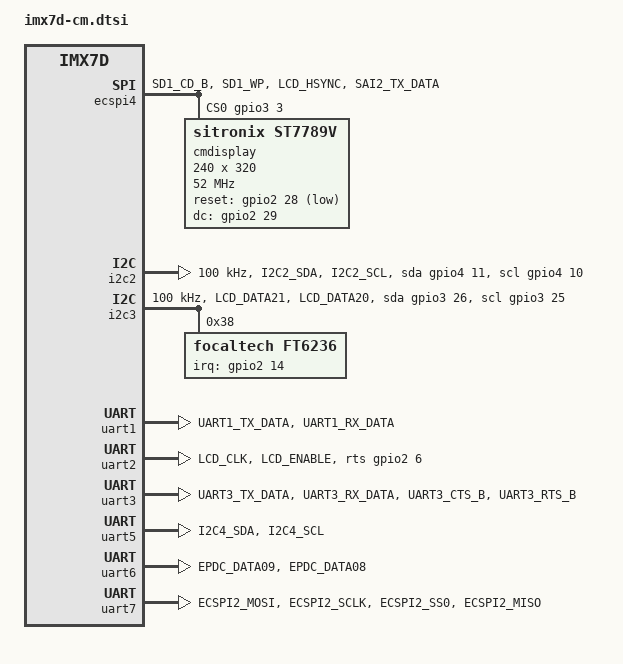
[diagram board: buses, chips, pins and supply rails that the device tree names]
/*
 * Copyright (C) 2015 Freescale Semiconductor, Inc.
 * Copyright (C) 2016-2017 Variscite Ltd.
 *
 * This program is free software; you can redistribute it and/or modify
 * it under the terms of the GNU General Public License version 2 as
 * published by the Free Software Foundation.
 */
#include "imx7d-tt-common.dtsi"

/ {

};

&ecspi4 {
	fsl,spi-num-chipselects = <1>;
	pinctrl-names = "default";
	pinctrl-0 = <&pinctrl_ecspi4>;
	cs-gpios = <&gpio3 3 0>;
	status = "okay";

	cmdisplay: cm-display@0{
		compatible = "sitronix,st7789v";
		reg = <0>;
		pinctrl-names = "default";
		pinctrl-0 = <&cm_display1>;

		spi-max-frequency = <52000000>;
		rotate = <180>;
		width = <240>;
		height = <320>;
		fps = <30>;
		buswidth = <8>;
		reset-gpios = <&gpio2 28 1>;
		dc-gpios = <&gpio2 29 0>;
		debug = <0>;
	};

};

&i2c2 {
	clock-frequency = <100000>;
	pinctrl-names = "default", "gpio";
	pinctrl-0 = <&pinctrl_i2c2>;
	pinctrl-1 = <&pinctrl_i2c2_gpio>;
	scl-gpios = <&gpio4 10 GPIO_ACTIVE_HIGH>;
	sda-gpios = <&gpio4 11 GPIO_ACTIVE_HIGH>;
	status = "okay";
};

&i2c3 {
	clock-frequency = <100000>;
	pinctrl-names = "default", "gpio";
	pinctrl-0 = <&pinctrl_i2c3>;
	pinctrl-1 = <&pinctrl_i2c3_gpio>;
	scl-gpios = <&gpio3 25 GPIO_ACTIVE_HIGH>;
	sda-gpios = <&gpio3 26 GPIO_ACTIVE_HIGH>;
	status = "okay";

	ft6236: ft6236@38 {
		compatible = "focaltech,ft6236";
		reg = <0x38>;

		interrupt-parent = <&gpio2>;
		interrupts = <14 2>;

		touchscreen-size-x = <240>;
		touchscreen-size-y = <320>;
		touchscreen-swapped-x-y = <1>;
		touchscreen-inverted-x = <1>;
		touchscreen-inverted-y = <1>;
	};
};

&iomuxc {
	pinctrl-names = "default", "sleep";
	pinctrl-0 = <&pinctrl_hog_1>;
	pinctrl-1 = <&pinctrl_hog_1_sleep>;

	imx7d-sdb {
		pinctrl_hog_1: hoggrp-1 {
			fsl,pins = <
				MX7D_PAD_GPIO1_IO14__GPIO1_IO14		0x80000000 /* bt reg on */
				MX7D_PAD_EPDC_PWR_COM__GPIO2_IO30	0x80000000 /* capacitive touch irq */
				MX7D_PAD_SD2_RESET_B__GPIO5_IO11	0x59       /* ethphy0 reset */
				MX7D_PAD_UART2_TX_DATA__GPIO4_IO3	0x59       /* ethphy1 reset */
				MX7D_PAD_I2C3_SCL__GPIO4_IO12		0x80000000 /* Nordic SWDIO */
				MX7D_PAD_I2C3_SDA__GPIO4_IO13		0x80000000 /* Nordic SWDCLK */
				MX7D_PAD_EPDC_DATA13__GPIO2_IO13	0x80000000 /* CM RST */
				MX7D_PAD_LCD_RESET__GPIO3_IO4		0x80000000 /* CM FCT RST */
				MX7D_PAD_LCD_VSYNC__GPIO3_IO3		0x80000000 /* DISP CS */
				MX7D_PAD_LCD_DATA23__GPIO3_IO28		0x80000000 /* TOUCH RST */
				MX7D_PAD_EPDC_DATA14__GPIO2_IO14	0x80000000 /* TOUCH IRQ */
				MX7D_PAD_EPDC_DATA10__GPIO2_IO10	0x80000000 /* TRIGGER 1 */
				MX7D_PAD_EPDC_DATA04__GPIO2_IO4		0x80000000 /* TRIGGER 2 */
				MX7D_PAD_EPDC_DATA01__GPIO2_IO1		0x80000000 /* HANDLE 1 */
				MX7D_PAD_EPDC_DATA15__GPIO2_IO15	0x80000000 /* HANDLE 2 */
				MX7D_PAD_EPDC_DATA03__GPIO2_IO3		0x80000000 /* GPIO_TX31 */
				MX7D_PAD_EPDC_DATA02__GPIO2_IO2		0x80000000 /* GPIO_RX31 */
				MX7D_PAD_EPDC_DATA11__GPIO2_IO11	0x80000000 /* GPIO_TX32 */
				MX7D_PAD_LCD_DATA22__GPIO3_IO27		0x80000000 /* GPIO_RX32 */
				MX7D_PAD_EPDC_DATA06__GPIO2_IO6		0x80000000 /* GPIO_TX1 */
				MX7D_PAD_EPDC_DATA07__GPIO2_IO7		0x80000000 /* GPIO_RX1 */
			>;
		};
		
		pinctrl_hog_1_sleep: hoggrp-1sleep {
			fsl,pins = <
				MX7D_PAD_GPIO1_IO14__GPIO1_IO14		0x10  /* bt reg on */
				MX7D_PAD_EPDC_PWR_COM__GPIO2_IO30	0x10  /* capacitive touch irq */
				MX7D_PAD_SD2_RESET_B__ECSPI3_RDY	0x10  /* ethphy0 reset */
				MX7D_PAD_UART2_TX_DATA__I2C2_SDA	0x10  /* ethphy1 reset */
				MX7D_PAD_EPDC_DATA06__GPIO2_IO6		0x10  /* LED */
			>;
		};

		pinctrl_ecspi4: ecspi4grp {
			fsl,pins = <
				MX7D_PAD_SD1_CD_B__ECSPI4_MISO		0x2 /* 118 */
				MX7D_PAD_SD1_WP__ECSPI4_MOSI		0x2 /* 163 */
				MX7D_PAD_LCD_HSYNC__ECSPI4_SCLK		0x2 /* 44 */
				MX7D_PAD_SAI2_TX_DATA__GPIO6_IO22	0x80000000 /* Pin header */
			>;
		};

		cm_display1: cmdisplay1grp {
			fsl,pins = <
				MX7D_PAD_EPDC_BDR0__GPIO2_IO28	0x80000000 /* DISP RST */
				MX7D_PAD_EPDC_BDR1__GPIO2_IO29	0x80000000 /* DISP DC */
			>;
		};

		pinctrl_i2c2: i2c2grp {
			fsl,pins = <
				MX7D_PAD_I2C2_SDA__I2C2_SDA     0x4000007f
				MX7D_PAD_I2C2_SCL__I2C2_SCL     0x4000007f
			>;
		};

		pinctrl_i2c2_gpio: i2c2gpiogrp {
			fsl,pins = <
				MX7D_PAD_I2C2_SDA__GPIO4_IO11   0x4000007f
				MX7D_PAD_I2C2_SCL__GPIO4_IO10   0x4000007f
			>;
		};

		pinctrl_i2c3: i2c3grp {
			fsl,pins = <
				MX7D_PAD_LCD_DATA21__I2C3_SDA	0x4000007f
				MX7D_PAD_LCD_DATA20__I2C3_SCL	0x4000007f
			>;
		};

		pinctrl_i2c3_gpio: i2c3gpiogrp {
			fsl,pins = <
				MX7D_PAD_LCD_DATA21__GPIO3_IO26	0x4000007f
				MX7D_PAD_LCD_DATA20__GPIO3_IO25	0x4000007f
			>;
		};

		pinctrl_uart1: uart1grp {
			fsl,pins = <
				MX7D_PAD_UART1_TX_DATA__UART1_DCE_TX	0x79
				MX7D_PAD_UART1_RX_DATA__UART1_DCE_RX	0x79
			>;
		};

		pinctrl_uart1_sleep: uart1sleep_grp {
			fsl,pins = <
				MX7D_PAD_UART1_TX_DATA__GPIO4_IO1	0x10
				MX7D_PAD_UART1_RX_DATA__GPIO4_IO0	0x10
			>;
		};

		pinctrl_uart2: uart2grp {
			fsl,pins = <
				MX7D_PAD_LCD_CLK__UART2_DCE_RX		0x79
				MX7D_PAD_LCD_ENABLE__UART2_DCE_TX	0x79
			>;
		};

		pinctrl_uart3: uart3grp {
			fsl,pins = <
				MX7D_PAD_UART3_TX_DATA__UART3_DCE_TX	0x79
				MX7D_PAD_UART3_RX_DATA__UART3_DCE_RX	0x79
				MX7D_PAD_UART3_CTS_B__UART3_DCE_CTS		0x79
				MX7D_PAD_UART3_RTS_B__UART3_DCE_RTS		0x79
			>;
		};

		pinctrl_uart5: uart5grp {
			fsl,pins = <
				MX7D_PAD_I2C4_SDA__UART5_DCE_TX		0x79
				MX7D_PAD_I2C4_SCL__UART5_DCE_RX		0x79
			>;
		};

		pinctrl_uart6: uart6grp {
			fsl,pins = <
				MX7D_PAD_EPDC_DATA09__UART6_DCE_TX	0x79
				MX7D_PAD_EPDC_DATA08__UART6_DCE_RX	0x79
			>;
		};

		pinctrl_uart7: uart7grp {
			fsl,pins = <
				MX7D_PAD_ECSPI2_MOSI__UART7_DCE_TX	0x79
				MX7D_PAD_ECSPI2_SCLK__UART7_DCE_RX	0x79
				MX7D_PAD_ECSPI2_SS0__UART7_DCE_CTS	0x79
				MX7D_PAD_ECSPI2_MISO__UART7_DCE_RTS	0x79
			>;
		};
	};
};


&iomuxc_lpsr {
	imx7d-sdb {
		pinctrl_hog_2: hoggrp-2 {
			fsl,pins = <
				MX7D_PAD_LPSR_GPIO1_IO05__GPIO1_IO5		0x14
				MX7D_PAD_LPSR_GPIO1_IO02__GPIO1_IO2		0x80000000 /* SYNC */

			>;
		};
	};
};


&uart1 {
	pinctrl-names = "default", "sleep";
	pinctrl-0 = <&pinctrl_uart1>;
	pinctrl-1 = <&pinctrl_uart1_sleep>;
	assigned-clocks = <&clks IMX7D_UART1_ROOT_SRC>;
	assigned-clock-parents = <&clks IMX7D_OSC_24M_CLK>;
	status = "okay";
};

&uart2 {
	pinctrl-names = "default";
	pinctrl-0 = <&pinctrl_uart2>;
	assigned-clocks = <&clks IMX7D_UART2_ROOT_SRC>;
	assigned-clock-parents = <&clks IMX7D_OSC_24M_CLK>;
	rts-gpios = <&gpio2 6 GPIO_ACTIVE_HIGH>;
	rs485-rts-active-high;
	rs485-rts-delay = <1 1>;
	linux,rs485-enabled-at-boot-time;
	status = "okay";
};

&uart3 {
	pinctrl-names = "default";
	pinctrl-0 = <&pinctrl_uart3>;
	assigned-clocks = <&clks IMX7D_UART3_ROOT_SRC>;
	assigned-clock-parents = <&clks IMX7D_PLL_SYS_MAIN_240M_CLK>;
	uart-has-rtscts;
	status = "okay";
};

&uart5 {
	pinctrl-names = "default";
	pinctrl-0 = <&pinctrl_uart5>;
	assigned-clocks = <&clks IMX7D_UART5_ROOT_SRC>;
	assigned-clock-parents = <&clks IMX7D_PLL_SYS_MAIN_240M_CLK>;
	status = "okay";
};

&uart6 {
	pinctrl-names = "default";
	pinctrl-0 = <&pinctrl_uart6>;
	assigned-clocks = <&clks IMX7D_UART6_ROOT_SRC>;
	assigned-clock-parents = <&clks IMX7D_PLL_SYS_MAIN_240M_CLK>;
	status = "okay";
};

&uart7 {
	pinctrl-names = "default";
	pinctrl-0 = <&pinctrl_uart7>;
	assigned-clocks = <&clks IMX7D_UART7_ROOT_SRC>;
	assigned-clock-parents = <&clks IMX7D_PLL_SYS_MAIN_240M_CLK>;
	uart-has-rtscts;
	status = "okay";
};

